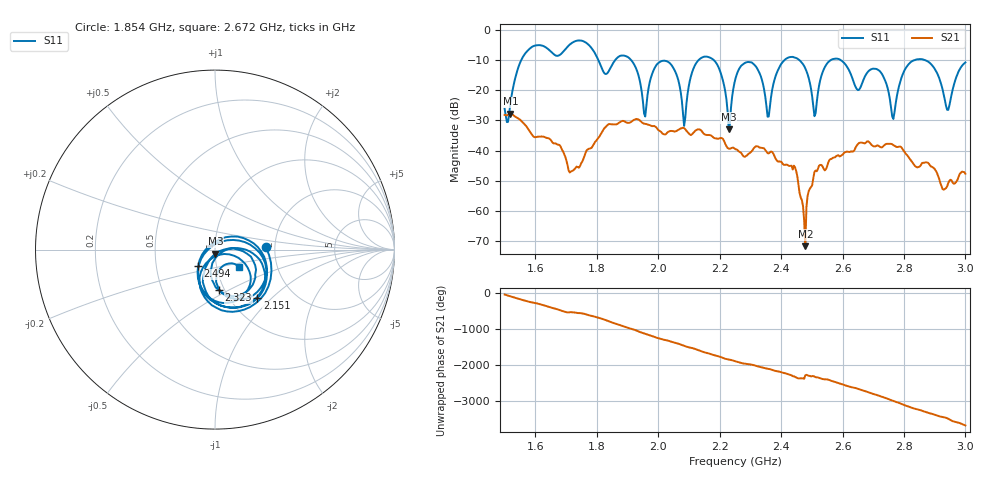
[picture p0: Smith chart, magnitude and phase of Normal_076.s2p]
# HZ S RI R 50
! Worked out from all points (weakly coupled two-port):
!   404 points, 1.5 GHz to 3 GHz, reference 50 ohm
!   highest |S21| = -27.74 dB at 1.519 GHz (marker M1); lowest = -71.6 dB at 2.479 GHz (marker M2)
!   lowest |S11| = -32.9 dB at 2.23 GHz (marker M3), VSWR 1.05, Z = 50.2 - j2.26 ohm
!   |S11| at or under -10 dB: 1.912 GHz to 2.132 GHz (220.3 MHz wide, 10.9 % of centre); 2.181 GHz to 2.412 GHz (231 MHz wide, 10.1 % of centre); 2.594 GHz to 2.836 GHz (242.4 MHz wide, 8.93 % of centre) (the widest 3 of 7)
!   S12 and S22 are empty: the file has one direction only
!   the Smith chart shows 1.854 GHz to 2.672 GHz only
!   S11 on the Smith chart (normalised r, x): 1.854 GHz: 1.79, +0.06; 2.151 GHz: 1.32, -0.83; 2.323 GHz: 0.94, -0.45; 2.494 GHz: 0.82, -0.15; 2.672 GHz: 1.28, -0.26
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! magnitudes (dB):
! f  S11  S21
! 1.5 GHz  -26.1  -28.2
! 1.519 GHz  -24.5  -27.7
! 1.582 GHz  -6.2  -33.6
! 1.753 GHz  -3.7  -43.6
! 1.854 GHz  -11.0  -31.3
! 1.958 GHz  -28.7  -31.1
! 2.002 GHz  -10.8  -33.3
! 2.084 GHz  -31.8  -32.6
! 2.151 GHz  -8.9  -34.6
! 2.23 GHz  -32.9  -39.3
! 2.252 GHz  -16.0  -39.5
! 2.323 GHz  -12.9  -38.6
! 2.36 GHz  -28.7  -40.9
! 2.408 GHz  -10.3  -44.7
! 2.479 GHz  -12.8  -71.6
! 2.494 GHz  -17.6  -52.6
! 2.501 GHz  -22.1  -51.5
! 2.672 GHz  -15.5  -37.6
! 2.751 GHz  -21.0  -37.8
! 2.859 GHz  -9.7  -44.1
! 2.944 GHz  -26.5  -50.8
! 3 GHz  -10.8  -47.7
